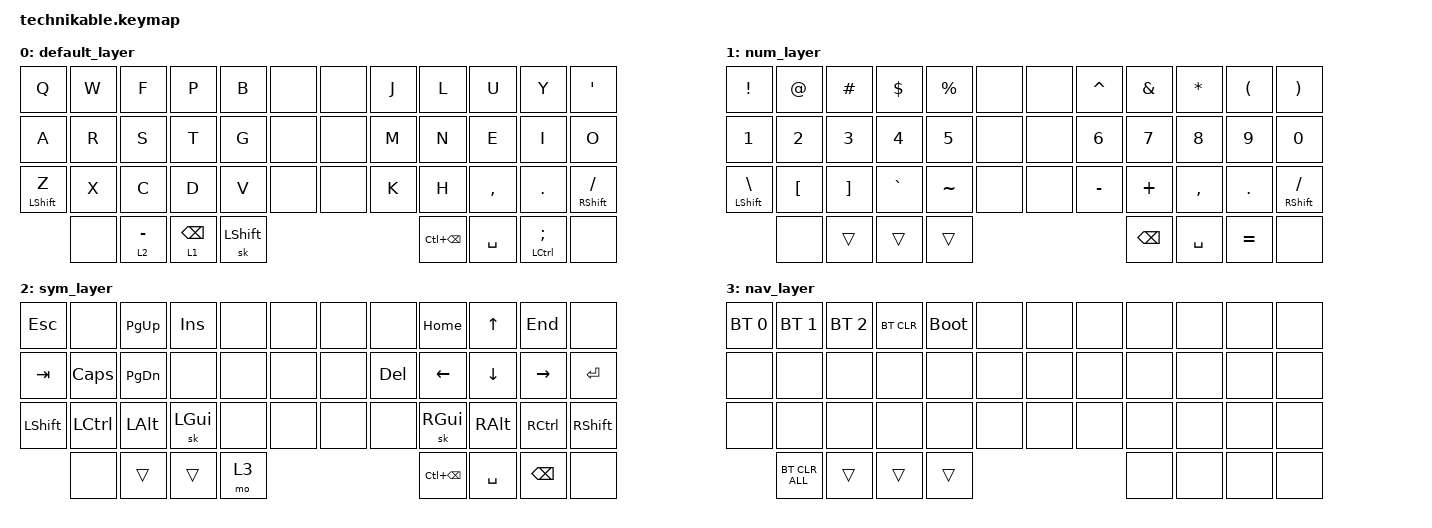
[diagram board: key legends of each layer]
/* 
 * Copyright (c) 2022 Pete Johanson
 *
 * SPDX-License-Identifier: MIT
 */

#include <behaviors.dtsi>
#include <dt-bindings/zmk/keys.h>
#include <dt-bindings/zmk/bt.h>
#include <dt-bindings/zmk/outputs.h>


#define DEFAULT 0
#define NUM     1
#define SYM     2
#define NAV     3

// Using layer taps on thumbs, having quick tap as well helps w/ repeating space/backspace
&lt { quick_tap_ms = <200>; };

/ {
    chosen {
       zmk,matrix_transform = &ortho_transform;
    };

conditional_layers {
        compatible = "zmk,conditional-layers";
	tri_layer {
        if-layers = <1 2>;
	    then-layer = <3>;
			};
   	 	};
	};

/ {
    keymap {
        compatible = "zmk,keymap";

        default_layer {
            bindings = <
 &kp Q       &kp W  &kp F  &kp P  &kp B  &none     &none  &kp J  &kp L  &kp U      &kp Y    &kp APOS
 &kp A       &kp R  &kp S  &kp T  &kp G  &none     &none  &kp M  &kp N  &kp E      &kp I    &kp O 
 &mt LSHFT Z &kp X  &kp C  &kp D  &kp V  &none     &none  &kp K  &kp H  &kp COMMA  &kp DOT  &mt RSHFT FSLH
        &none &lt 2 MINUS &lt 1 BSPC &sk LSHFT     &kp LC(BSPC) &kp SPACE &mt LCTRL SEMI &none    
            >;
        };

        num_layer {
            bindings = <
&kp EXCL       &kp AT   &kp POUND &kp DLLR  &kp PRCNT &none    &none &kp CARET &kp AMPS &kp ASTRK &kp LPAR &kp RPAR
&kp N1         &kp N2   &kp N3    &kp N4    &kp N5    &none    &none &kp N6    &kp N7   &kp N8    &kp N9   &kp N0  
&mt LSHFT BSLH &kp LBKT &kp RBKT  &kp GRAVE &kp TILDE &none    &none &kp MINUS &kp PLUS &kp COMMA &kp DOT  &mt RSHFT FSLH
                        &none     &trans    &trans   &trans    &kp BSPC &kp SPACE &kp EQUAL &none
            >;
        };

        sym_layer {
            bindings = <
&kp ESC   &none     &kp PG_UP  &kp INS  &none  &none     &none  &none    &kp HOME  &kp UP    &kp END   &none
&kp TAB   &kp CAPS  &kp PG_DN  &none    &none  &none     &none  &kp DEL  &kp LEFT  &kp DOWN  &kp RIGHT &kp RET
&kp LSHFT &kp LCTRL &kp LALT   &sk LGUI &none  &none     &none  &none    &sk RGUI  &kp RALT  &kp RCTRL &kp RSHFT
                    &none      &trans   &trans &mo 3     &kp LC(BSPC) &kp SPACE &kp BSPC &none
            >;
        };

        nav_layer {
            bindings = <
&bt BT_SEL 0  &bt BT_SEL 1 &bt BT_SEL 2 &bt BT_CLR &bootloader &none      &none &none &none &none &none &none
&none         &none        &none        &none      &none       &none      &none &none &none &none &none &none
&none         &none        &none        &none      &none       &none      &none &none &none &none &none &none
                           &bt BT_CLR_ALL  &trans  &trans     &trans      &none &none &none &none
            >;
        };

    };
};

